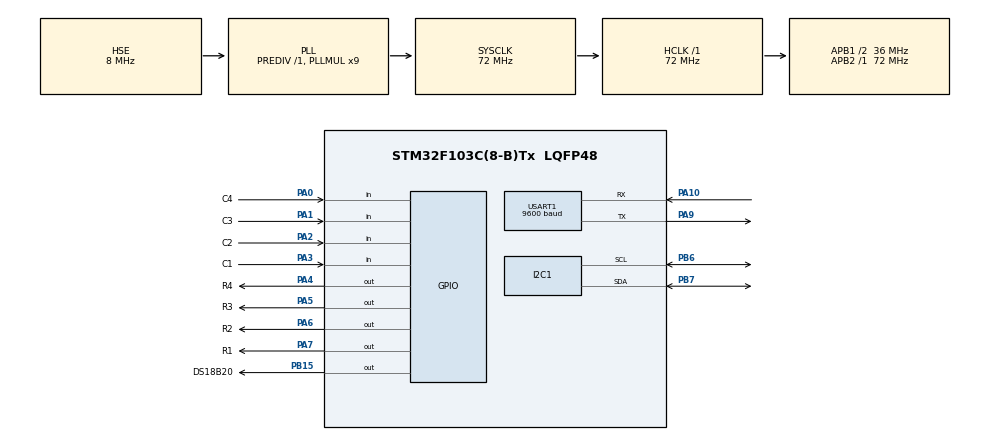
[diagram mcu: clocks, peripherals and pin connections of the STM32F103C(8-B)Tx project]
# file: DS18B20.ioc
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FREERTOS.Tasks01=sstask,24,128,ssfunc,Default,NULL,Dynamic,NULL,NULL;keytask,8,128,keyfunc,Default,NULL,Dynamic,NULL,NULL
Mcu.Family=STM32F1
Mcu.Name=STM32F103C(8-B)Tx
Mcu.Package=LQFP48
NVIC.PriorityGroup=NVIC_PRIORITYGROUP_4
NVIC.USART1_IRQn=true\:5\:0\:false\:false\:true\:true\:true\:true\:true
PA0-WKUP.GPIO_Label=C4
PA0-WKUP.Signal=GPIO_Input
PA1.GPIO_Label=C3
PA1.Signal=GPIO_Input
PA10.Mode=Asynchronous
PA10.Signal=USART1_RX
PA13.Mode=Serial_Wire
PA13.Signal=SYS_JTMS-SWDIO
PA14.Mode=Serial_Wire
PA14.Signal=SYS_JTCK-SWCLK
PA2.GPIO_Label=C2
PA2.Signal=GPIO_Input
PA3.GPIO_Label=C1
PA3.Signal=GPIO_Input
PA4.GPIO_Label=R4
PA4.Signal=GPIO_Output
PA5.GPIO_Label=R3
PA5.Signal=GPIO_Output
PA6.GPIO_Label=R2
PA6.Signal=GPIO_Output
PA7.GPIO_Label=R1
PA7.Signal=GPIO_Output
PA9.Mode=Asynchronous
PA9.Signal=USART1_TX
PB15.GPIO_Label=DS18B20
PB15.GPIO_ModeDefaultOutputPP=GPIO_MODE_OUTPUT_OD
PB15.GPIO_PuPd=GPIO_NOPULL
PB15.Signal=GPIO_Output
PB6.Mode=I2C
PB6.Signal=I2C1_SCL
PB7.Mode=I2C
PB7.Signal=I2C1_SDA
PD0-OSC_IN.Mode=HSE-External-Oscillator
PD0-OSC_IN.Signal=RCC_OSC_IN
PD1-OSC_OUT.Mode=HSE-External-Oscillator
PD1-OSC_OUT.Signal=RCC_OSC_OUT
ProjectManager.HeapSize=0x200
ProjectManager.StackSize=0x400
ProjectManager.TargetToolchain=STM32CubeIDE
RCC.AHBFreq_Value=72000000
RCC.APB1CLKDivider=RCC_HCLK_DIV2
RCC.APB1Freq_Value=36000000
RCC.APB1TimFreq_Value=72000000
RCC.APB2Freq_Value=72000000
RCC.APB2TimFreq_Value=72000000
RCC.HCLKFreq_Value=72000000
RCC.PLLMUL=RCC_PLL_MUL9
RCC.PLLSourceVirtual=RCC_PLLSOURCE_HSE
RCC.SYSCLKFreq_VALUE=72000000
RCC.SYSCLKSource=RCC_SYSCLKSOURCE_PLLCLK
RCC.USBFreq_Value=72000000
TIM4.Prescaler=71
USART1.BaudRate=9600
USART1.VirtualMode=VM_ASYNC
VP_FREERTOS_VS_CMSIS_V2.Mode=CMSIS_V2
VP_TIM4_VS_ClockSourceINT.Mode=Internal
board=custom

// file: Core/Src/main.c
/* USER CODE BEGIN Header */
/**
  ******************************************************************************
  * @file           : main.c
  * @brief          : Main program body
  ******************************************************************************
  * @attention
  *
  * Copyright (c) 2025 STMicroelectronics.
  * All rights reserved.
  *
  * This software is licensed under terms that can be found in the LICENSE file
  * in the root directory of this software component.
  * If no LICENSE file comes with this software, it is provided AS-IS.
  *
  ******************************************************************************
  */
/* USER CODE END Header */
#include "main.h"
#include "cmsis_os.h"

/* USER CODE BEGIN Includes */
#include "DS18B20.h"
#include "i2c-lcd.h"
#include <stdio.h>
#include <string.h>
/* USER CODE END Includes */

/* USER CODE BEGIN PTD */
uint8_t UART1_rxBuffer[12] = {0};

UART_HandleTypeDef huart1;
/* USER CODE END PTD */

/* USER CODE BEGIN PD */
DS18B20_Name DS1;
float Temp;
/* USER CODE END PD */

/* USER CODE BEGIN PM */
	char usrBuffer[50];

	char buffCount=0;
	push(char *s){
		strcpy(&usrBuffer[buffCount],s);
		buffCount+=strlen(s);
	}
	char* pop(){
		if( buffCount<5){
			return "`";
		}
	    static char temp[6];  // To hold the popped string (5 characters + '\0')
	    strncpy(temp, usrBuffer, 5);
	      temp[5] = '\0';  // Null-terminate the string

	      // Shift the buffer to the left by 5 characters
	      memmove(usrBuffer, &usrBuffer[5], 50 - 5);
	      // Decrease buffer count
	      buffCount -= 5;

	      return temp;  // Return the popped string
	}
	void HAL_UART_RxCpltCallback(UART_HandleTypeDef *huart)
	{
	    HAL_UART_Transmit(&huart1, UART1_rxBuffer, 12, 100);
	    HAL_UART_Receive_IT(&huart1, UART1_rxBuffer, 12);
	}
/* USER CODE END PM */

I2C_HandleTypeDef hi2c1;

TIM_HandleTypeDef htim4;

UART_HandleTypeDef huart1;

/* Definitions for sstask */
osThreadId_t sstaskHandle;
const osThreadAttr_t sstask_attributes = {
  .name = "sstask",
  .stack_size = 128 * 4,
  .priority = (osPriority_t) osPriorityNormal,
};
/* Definitions for keytask */
osThreadId_t keytaskHandle;
const osThreadAttr_t keytask_attributes = {
  .name = "keytask",
  .stack_size = 128 * 4,
  .priority = (osPriority_t) osPriorityLow,
};

void SystemClock_Config(void);
static void MX_GPIO_Init(void);
static void MX_I2C1_Init(void);
static void MX_TIM4_Init(void);
static void MX_USART1_UART_Init(void);
void ssfunc(void *argument);
void keyfunc(void *argument);

/* USER CODE BEGIN 0 */
char read_keypad (void)
{
	/* Make ROW 1 LOW and all other ROWs HIGH */
	HAL_GPIO_WritePin (R1_GPIO_Port, R1_Pin, GPIO_PIN_RESET);  //Pull the R1 low
	HAL_GPIO_WritePin (R2_GPIO_Port, R2_Pin, GPIO_PIN_SET);  // Pull the R2 High
	HAL_GPIO_WritePin (R3_GPIO_Port, R3_Pin, GPIO_PIN_SET);  // Pull the R3 High
	HAL_GPIO_WritePin (R4_GPIO_Port, R4_Pin, GPIO_PIN_SET);  // Pull the R4 High

	if (!(HAL_GPIO_ReadPin (C1_GPIO_Port, C1_Pin)))   // if the Col 1 is low
	{
		while (!(HAL_GPIO_ReadPin (C1_GPIO_Port, C1_Pin)));   // wait till the button is pressed
		return '1';
	}

	if (!(HAL_GPIO_ReadPin (C2_GPIO_Port, C2_Pin)))   // if the Col 2 is low
	{
		while (!(HAL_GPIO_ReadPin (C2_GPIO_Port, C2_Pin)));   // wait till the button is pressed
		return '2';
	}

	if (!(HAL_GPIO_ReadPin (C3_GPIO_Port, C3_Pin)))   // if the Col 3 is low
	{
		while (!(HAL_GPIO_ReadPin (C3_GPIO_Port, C3_Pin)));   // wait till the button is pressed
		return '3';
	}

	if (!(HAL_GPIO_ReadPin (C4_GPIO_Port, C4_Pin)))   // if the Col 4 is low
	{
		while (!(HAL_GPIO_ReadPin (C4_GPIO_Port, C4_Pin)));   // wait till the button is pressed
		return 'A';
	}

	/* Make ROW 2 LOW and all other ROWs HIGH */
	HAL_GPIO_WritePin (R1_GPIO_Port, R1_Pin, GPIO_PIN_SET);  //Pull the R1 low
	HAL_GPIO_WritePin (R2_GPIO_Port, R2_Pin, GPIO_PIN_RESET);  // Pull the R2 High
	HAL_GPIO_WritePin (R3_GPIO_Port, R3_Pin, GPIO_PIN_SET);  // Pull the R3 High
	HAL_GPIO_WritePin (R4_GPIO_Port, R4_Pin, GPIO_PIN_SET);  // Pull the R4 High

	if (!(HAL_GPIO_ReadPin (C1_GPIO_Port, C1_Pin)))   // if the Col 1 is low
	{
		while (!(HAL_GPIO_ReadPin (C1_GPIO_Port, C1_Pin)));   // wait till the button is pressed
		return '4';
	}

	if (!(HAL_GPIO_ReadPin (C2_GPIO_Port, C2_Pin)))   // if the Col 2 is low
	{
		while (!(HAL_GPIO_ReadPin (C2_GPIO_Port, C2_Pin)));   // wait till the button is pressed
		return '5';
	}

	if (!(HAL_GPIO_ReadPin (C3_GPIO_Port, C3_Pin)))   // if the Col 3 is low
	{
		while (!(HAL_GPIO_ReadPin (C3_GPIO_Port, C3_Pin)));   // wait till the button is pressed
		return '6';
	}

	if (!(HAL_GPIO_ReadPin (C4_GPIO_Port, C4_Pin)))   // if the Col 4 is low
	{
		while (!(HAL_GPIO_ReadPin (C4_GPIO_Port, C4_Pin)));   // wait till the button is pressed
		return 'B';
	}

	/* Make ROW 3 LOW and all other ROWs HIGH */
	HAL_GPIO_WritePin (R1_GPIO_Port, R1_Pin, GPIO_PIN_SET);  //Pull the R1 low
	HAL_GPIO_WritePin (R2_GPIO_Port, R2_Pin, GPIO_PIN_SET);  // Pull the R2 High
	HAL_GPIO_WritePin (R3_GPIO_Port, R3_Pin, GPIO_PIN_RESET);  // Pull the R3 High
	HAL_GPIO_WritePin (R4_GPIO_Port, R4_Pin, GPIO_PIN_SET);  // Pull the R4 High

	if (!(HAL_GPIO_ReadPin (C1_GPIO_Port, C1_Pin)))   // if the Col 1 is low
	{
		while (!(HAL_GPIO_ReadPin (C1_GPIO_Port, C1_Pin)));   // wait till the button is pressed
		return '7';
	}

	if (!(HAL_GPIO_ReadPin (C2_GPIO_Port, C2_Pin)))   // if the Col 2 is low
	{
		while (!(HAL_GPIO_ReadPin (C2_GPIO_Port, C2_Pin)));   // wait till the button is pressed
		return '8';
	}

	if (!(HAL_GPIO_ReadPin (C3_GPIO_Port, C3_Pin)))   // if the Col 3 is low
	{
		while (!(HAL_GPIO_ReadPin (C3_GPIO_Port, C3_Pin)));   // wait till the button is pressed
		return '9';
	}

	if (!(HAL_GPIO_ReadPin (C4_GPIO_Port, C4_Pin)))   // if the Col 4 is low
	{
		while (!(HAL_GPIO_ReadPin (C4_GPIO_Port, C4_Pin)));   // wait till the button is pressed
		return 'C';
	}

	/* Make ROW 4 LOW and all other ROWs HIGH */
	HAL_GPIO_WritePin (R1_GPIO_Port, R1_Pin, GPIO_PIN_SET);  //Pull the R1 low
	HAL_GPIO_WritePin (R2_GPIO_Port, R2_Pin, GPIO_PIN_SET);  // Pull the R2 High
	HAL_GPIO_WritePin (R3_GPIO_Port, R3_Pin, GPIO_PIN_SET);  // Pull the R3 High
	HAL_GPIO_WritePin (R4_GPIO_Port, R4_Pin, GPIO_PIN_RESET);  // Pull the R4 High

	if (!(HAL_GPIO_ReadPin (C1_GPIO_Port, C1_Pin)))   // if the Col 1 is low
	{
		while (!(HAL_GPIO_ReadPin (C1_GPIO_Port, C1_Pin)));   // wait till the button is pressed
		return '*';
	}

	if (!(HAL_GPIO_ReadPin (C2_GPIO_Port, C2_Pin)))   // if the Col 2 is low
	{
		while (!(HAL_GPIO_ReadPin (C2_GPIO_Port, C2_Pin)));   // wait till the button is pressed
		return '0';
	}

	if (!(HAL_GPIO_ReadPin (C3_GPIO_Port, C3_Pin)))   // if the Col 3 is low
	{
		while (!(HAL_GPIO_ReadPin (C3_GPIO_Port, C3_Pin)));   // wait till the button is pressed
		return '#';
	}

	if (!(HAL_GPIO_ReadPin (C4_GPIO_Port, C4_Pin)))   // if the Col 4 is low
	{
		while (!(HAL_GPIO_ReadPin (C4_GPIO_Port, C4_Pin)));   // wait till the button is pressed
		return 'D';
	}

	return 0x01;  // /if nothing is pressed

}
float read_temperature_DS18B20(void) {
    float Temp = DS18B20_ReadTemp(&DS1); // �?�?c nhiệt độ từ cảm biến

    return Temp;
}
void send_temperature_via_UART(float Temp) {
    char buffer[20];
    sprintf(buffer, "Nhiet do %.1f C", Temp);
    HAL_UART_Transmit(&huart1, (uint8_t *)buffer, strlen(buffer), 100); // Gửi qua UART
}
void display_temperature_on_LCD(float Temp) {
    char buffer[20];
    int chuc = (int)Temp / 10;
    int dvi = (int)Temp % 10;

    // Format lại chuỗi
    sprintf(buffer, "Nhiet do %d%d○C", chuc, dvi);

    // Hiển thị lên LCD
    lcd_goto_XY(2, 1);
    lcd_send_string(buffer);
}

void handle_keypad_input(void) {
    lcd_goto_XY(1, 3);
    char key = read_keypad(); // �?�?c phím
    if (key != 0x01) {
        char str[2] = { key, '\0' };
        lcd_send_string(str); // Hiển thị phím bấm lên LCD
    }
}

/* USER CODE END 0 */

int main(void)
{

  /* MCU Configuration--------------------------------------------------------*/

  /* Reset of all peripherals, Initializes the Flash interface and the Systick. */
  HAL_Init();

  /* Configure the system clock */
  SystemClock_Config();

  /* Initialize all configured peripherals */
  MX_GPIO_Init();
  MX_I2C1_Init();
  MX_TIM4_Init();
  MX_USART1_UART_Init();
  /* USER CODE BEGIN 2 */
  HAL_UART_Receive_IT (&huart1, UART1_rxBuffer, 12);
  DS18B20_Init(&DS1, &htim4, DS18B20_GPIO_Port, DS18B20_Pin); // khoi tao ds18b20 timer4,....

  /* USER CODE END 2 */

  /* Init scheduler */
  osKernelInitialize();

  /* Create the thread(s) */
  /* creation of sstask */
  sstaskHandle = osThreadNew(ssfunc, NULL, &sstask_attributes);

  /* creation of keytask */
  keytaskHandle = osThreadNew(keyfunc, NULL, &keytask_attributes);

  /* Start scheduler */
  osKernelStart();

  /* We should never get here as control is now taken by the scheduler */

  /* Infinite loop */
  /* USER CODE BEGIN WHILE */
  int SysTicks=0;
  void SysTick_CallBack(void)
  {
      SysTicks++;

  }
  while (1)
  {

    /* USER CODE END WHILE */

    }
}

void SystemClock_Config(void)
{
  RCC_OscInitTypeDef RCC_OscInitStruct = {0};
  RCC_ClkInitTypeDef RCC_ClkInitStruct = {0};

  /** Initializes the RCC Oscillators according to the specified parameters
  * in the RCC_OscInitTypeDef structure.
  */
  RCC_OscInitStruct.OscillatorType = RCC_OSCILLATORTYPE_HSE;
  RCC_OscInitStruct.HSEState = RCC_HSE_ON;
  RCC_OscInitStruct.HSEPredivValue = RCC_HSE_PREDIV_DIV1;
  RCC_OscInitStruct.HSIState = RCC_HSI_ON;
  RCC_OscInitStruct.PLL.PLLState = RCC_PLL_ON;
  RCC_OscInitStruct.PLL.PLLSource = RCC_PLLSOURCE_HSE;
  RCC_OscInitStruct.PLL.PLLMUL = RCC_PLL_MUL9;
  if (HAL_RCC_OscConfig(&RCC_OscInitStruct) != HAL_OK)
  {
    Error_Handler();
  }

  /** Initializes the CPU, AHB and APB buses clocks
  */
  RCC_ClkInitStruct.ClockType = RCC_CLOCKTYPE_HCLK|RCC_CLOCKTYPE_SYSCLK
                              |RCC_CLOCKTYPE_PCLK1|RCC_CLOCKTYPE_PCLK2;
  RCC_ClkInitStruct.SYSCLKSource = RCC_SYSCLKSOURCE_PLLCLK;
  RCC_ClkInitStruct.AHBCLKDivider = RCC_SYSCLK_DIV1;
  RCC_ClkInitStruct.APB1CLKDivider = RCC_HCLK_DIV2;
  RCC_ClkInitStruct.APB2CLKDivider = RCC_HCLK_DIV1;

  if (HAL_RCC_ClockConfig(&RCC_ClkInitStruct, FLASH_LATENCY_2) != HAL_OK)
  {
    Error_Handler();
  }
}

static void MX_I2C1_Init(void)
{

  hi2c1.Instance = I2C1;
  hi2c1.Init.ClockSpeed = 100000;
  hi2c1.Init.DutyCycle = I2C_DUTYCYCLE_2;
  hi2c1.Init.OwnAddress1 = 0;
  hi2c1.Init.AddressingMode = I2C_ADDRESSINGMODE_7BIT;
  hi2c1.Init.DualAddressMode = I2C_DUALADDRESS_DISABLE;
  hi2c1.Init.OwnAddress2 = 0;
  hi2c1.Init.GeneralCallMode = I2C_GENERALCALL_DISABLE;
  hi2c1.Init.NoStretchMode = I2C_NOSTRETCH_DISABLE;
  if (HAL_I2C_Init(&hi2c1) != HAL_OK)
  {
    Error_Handler();
  }

}

static void MX_TIM4_Init(void)
{

  TIM_ClockConfigTypeDef sClockSourceConfig = {0};
  TIM_MasterConfigTypeDef sMasterConfig = {0};

  htim4.Instance = TIM4;
  htim4.Init.Prescaler = 71;
  htim4.Init.CounterMode = TIM_COUNTERMODE_UP;
  htim4.Init.Period = 65535;
  htim4.Init.ClockDivision = TIM_CLOCKDIVISION_DIV1;
  htim4.Init.AutoReloadPreload = TIM_AUTORELOAD_PRELOAD_DISABLE;
  if (HAL_TIM_Base_Init(&htim4) != HAL_OK)
  {
    Error_Handler();
  }
  sClockSourceConfig.ClockSource = TIM_CLOCKSOURCE_INTERNAL;
  if (HAL_TIM_ConfigClockSource(&htim4, &sClockSourceConfig) != HAL_OK)
  {
    Error_Handler();
  }
  sMasterConfig.MasterOutputTrigger = TIM_TRGO_RESET;
  sMasterConfig.MasterSlaveMode = TIM_MASTERSLAVEMODE_DISABLE;
  if (HAL_TIMEx_MasterConfigSynchronization(&htim4, &sMasterConfig) != HAL_OK)
  {
    Error_Handler();
  }

}

static void MX_USART1_UART_Init(void)
{

  huart1.Instance = USART1;
  huart1.Init.BaudRate = 9600;
  huart1.Init.WordLength = UART_WORDLENGTH_8B;
  huart1.Init.StopBits = UART_STOPBITS_1;
  huart1.Init.Parity = UART_PARITY_NONE;
  huart1.Init.Mode = UART_MODE_TX_RX;
  huart1.Init.HwFlowCtl = UART_HWCONTROL_NONE;
  huart1.Init.OverSampling = UART_OVERSAMPLING_16;
  if (HAL_UART_Init(&huart1) != HAL_OK)
  {
    Error_Handler();
  }

}

static void MX_GPIO_Init(void)
{
  GPIO_InitTypeDef GPIO_InitStruct = {0};

  /* GPIO Ports Clock Enable */
  __HAL_RCC_GPIOD_CLK_ENABLE();
  __HAL_RCC_GPIOA_CLK_ENABLE();
  __HAL_RCC_GPIOB_CLK_ENABLE();

  /*Configure GPIO pin Output Level */
  HAL_GPIO_WritePin(GPIOA, R4_Pin|R3_Pin|R2_Pin|R1_Pin, GPIO_PIN_RESET);

  /*Configure GPIO pin Output Level */
  HAL_GPIO_WritePin(DS18B20_GPIO_Port, DS18B20_Pin, GPIO_PIN_RESET);

  /*Configure GPIO pins : C4_Pin C3_Pin C2_Pin C1_Pin */
  GPIO_InitStruct.Pin = C4_Pin|C3_Pin|C2_Pin|C1_Pin;
  GPIO_InitStruct.Mode = GPIO_MODE_INPUT;
  GPIO_InitStruct.Pull = GPIO_NOPULL;
  HAL_GPIO_Init(GPIOA, &GPIO_InitStruct);

  /*Configure GPIO pins : R4_Pin R3_Pin R2_Pin R1_Pin */
  GPIO_InitStruct.Pin = R4_Pin|R3_Pin|R2_Pin|R1_Pin;
  GPIO_InitStruct.Mode = GPIO_MODE_OUTPUT_PP;
  GPIO_InitStruct.Pull = GPIO_NOPULL;
  GPIO_InitStruct.Speed = GPIO_SPEED_FREQ_LOW;
  HAL_GPIO_Init(GPIOA, &GPIO_InitStruct);

  /*Configure GPIO pin : DS18B20_Pin */
  GPIO_InitStruct.Pin = DS18B20_Pin;
  GPIO_InitStruct.Mode = GPIO_MODE_OUTPUT_OD;
  GPIO_InitStruct.Pull = GPIO_NOPULL;
  GPIO_InitStruct.Speed = GPIO_SPEED_FREQ_LOW;
  HAL_GPIO_Init(DS18B20_GPIO_Port, &GPIO_InitStruct);

}

/* USER CODE BEGIN Header_ssfunc */
/**
  * @brief  Function implementing the sstask thread.
  * @param  argument: Not used
  * @retval None
  */
float Temp;
/* USER CODE END Header_ssfunc */
void ssfunc(void *argument)
{
  /* USER CODE BEGIN 5 */
  /* Infinite loop */
  for(;;)
  { Temp = read_temperature_DS18B20();

  // Gửi nhiệt độ qua UART
  send_temperature_via_UART(Temp);

  // Hiển thị nhiệt độ lên LCD
  display_temperature_on_LCD(Temp);

    osDelay(1000);
  }
  /* USER CODE END 5 */
}

void keyfunc(void *argument)
{
  /* USER CODE BEGIN keyfunc */
  /* Infinite loop */
  for(;;)
  {
	  // Xử lý phím bấm từ bàn phím
	   handle_keypad_input();

    osDelay(50);
  }
  /* USER CODE END keyfunc */
}

void Error_Handler(void)
{
  __disable_irq();
  while (1)
  {
  }
}
